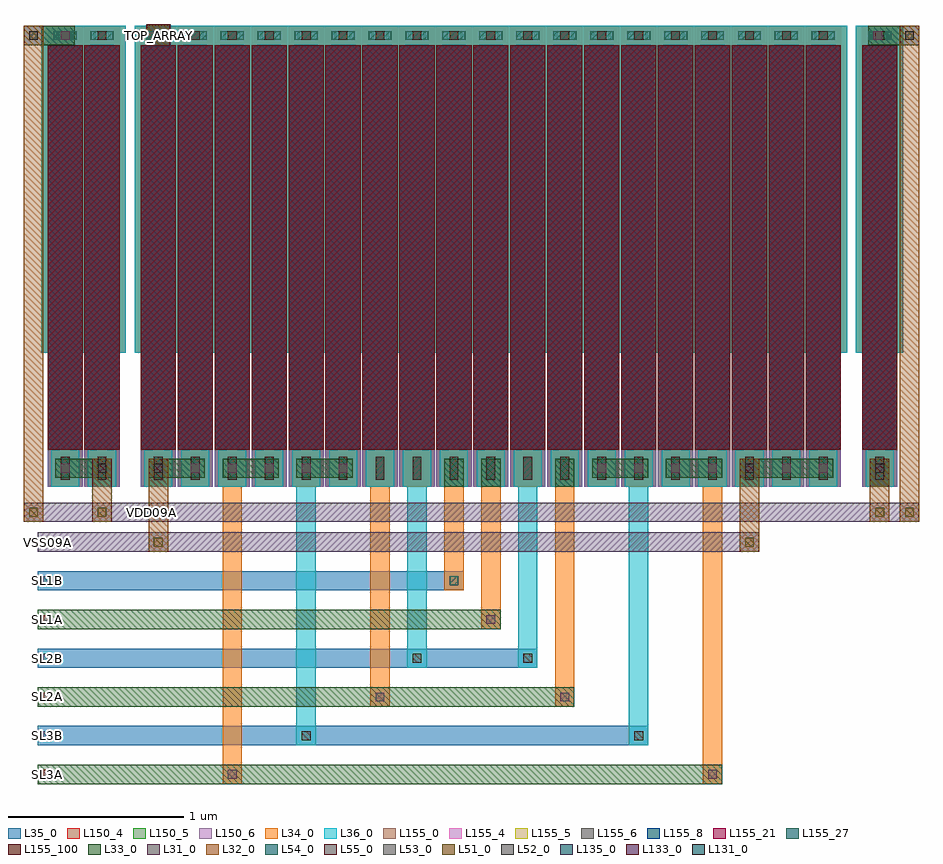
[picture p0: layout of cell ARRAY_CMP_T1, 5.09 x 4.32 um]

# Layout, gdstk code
from math import pi, radians
import gdstk
lib = gdstk.Library(unit=1e-6, precision=1e-09)
def R(c, l, rs):  # rectangles x0, y0, x1, y1
    for r in rs: c.add(gdstk.rectangle(r[:2], r[2:], *l))
def A(c, l, x, y, w, h, nx, ny, dx, dy):  # array of equal rectangles
    R(c, l, [(x+i*dx, y+j*dy, x+i*dx+w, y+j*dy+h) for i in range(nx) for j in range(ny)])
L31_0 = (31, 0)
L32_0 = (32, 0)
L33_0 = (33, 0)
L34_0 = (34, 0)
L35_0 = (35, 0)
L36_0 = (36, 0)
L51_0 = (51, 0)
L52_0 = (52, 0)
L53_0 = (53, 0)
L54_0 = (54, 0)
L55_0 = (55, 0)
L131_0 = (131, 0)
L133_0 = (133, 0)
L135_0 = (135, 0)
L150_4 = (150, 4)
L150_5 = (150, 5)
L150_6 = (150, 6)
L155_0 = (155, 0)
L155_4 = (155, 4)
L155_5 = (155, 5)
L155_6 = (155, 6)
L155_8 = (155, 8)
L155_21 = (155, 21)
L155_27 = (155, 27)
L155_100 = (155, 100)

m5_m4_cdns_621664426978 = lib.new_cell('M5_M4_CDNS_621664426978')
R(m5_m4_cdns_621664426978, L34_0, [(-0.07,-0.105,0.07,0.105)])
R(m5_m4_cdns_621664426978, L35_0, [(-0.07,-0.105,0.07,0.105)])
R(m5_m4_cdns_621664426978, L54_0, [(-0.025,-0.065,0.025,0.065)])

m6_m5_cdns_621664426979 = lib.new_cell('M6_M5_CDNS_621664426979')
R(m6_m5_cdns_621664426979, L35_0, [(-0.07,-0.105,0.07,0.105)])
R(m6_m5_cdns_621664426979, L36_0, [(-0.055,-0.105,0.055,0.105)])
R(m6_m5_cdns_621664426979, L55_0, [(-0.025,-0.065,0.025,0.065)])

m5_m4_cdns_6216644269710 = lib.new_cell('M5_M4_CDNS_6216644269710')
R(m5_m4_cdns_6216644269710, L34_0, [(-0.095,-0.055,0.095,0.055)])
R(m5_m4_cdns_6216644269710, L35_0, [(-0.12,-0.055,0.12,0.055)])
R(m5_m4_cdns_6216644269710, L54_0, [(-0.065,-0.025,0.065,0.025)])

m6_m5_cdns_621664426976 = lib.new_cell('M6_M5_CDNS_621664426976')
R(m6_m5_cdns_621664426976, L35_0, [(-0.055,-0.055,0.055,0.055)])
R(m6_m5_cdns_621664426976, L36_0, [(-0.055,-0.055,0.055,0.055)])
R(m6_m5_cdns_621664426976, L55_0, [(-0.025,-0.025,0.025,0.025)])

cu1f = lib.new_cell('CU1F')
R(cu1f, L34_0, [(0.02,0,0.18,0.21), (-0.035,2.51,0.235,2.62)])
R(cu1f, L35_0, [(0.02,0,0.18,0.21), (-0.035,2.51,0.235,2.62)])
R(cu1f, L36_0, [(0.02,0,0.18,0.21), (-0.035,2.51,0.235,2.62)])
R(cu1f, L150_4, [(0,0,0.2,2.62)])
R(cu1f, L150_5, [(0,0,0.2,2.62)])
R(cu1f, L150_6, [(0,0,0.2,2.62)])
R(cu1f, L155_0, [(0,0.21,0.2,2.51)])
R(cu1f, L155_4, [(0,0.21,0.2,2.51)])
R(cu1f, L155_5, [(0,0.21,0.2,2.51)])
R(cu1f, L155_6, [(0,0.21,0.2,2.51)])
R(cu1f, L155_8, [(0,0.21,0.2,2.51)])
R(cu1f, L155_21, [(0,0.21,0.2,2.51)])
R(cu1f, L155_27, [(0,0.21,0.2,2.51)])
R(cu1f, L155_100, [(0,0.21,0.2,2.51)])
cu1f.add(gdstk.FlexPath([(0.205,2.59),(0.205,0.76)], 0.06, ends=(0.03, 0), simple_path=True, layer=34, datatype=0))  # L34_0
cu1f.add(gdstk.FlexPath([(0.1,2.41),(0.1,0)], 0.05, ends="flush", simple_path=True, layer=34, datatype=0))  # L34_0
cu1f.add(gdstk.FlexPath([(-0.005,2.59),(-0.005,0.76)], 0.06, ends=(0.03, 0), simple_path=True, layer=34, datatype=0))  # L34_0
cu1f.add(gdstk.FlexPath([(0.205,0.76),(0.205,2.59)], 0.06, ends=(0, 0.03), simple_path=True, layer=35, datatype=0))  # L35_0
cu1f.add(gdstk.FlexPath([(0.1,2.41),(0.1,0)], 0.05, ends="flush", simple_path=True, layer=35, datatype=0))  # L35_0
cu1f.add(gdstk.FlexPath([(-0.005,0.76),(-0.005,2.59)], 0.06, ends=(0, 0.03), simple_path=True, layer=35, datatype=0))  # L35_0
cu1f.add(gdstk.FlexPath([(0.205,0.76),(0.205,2.59)], 0.06, ends=(0, 0.03), simple_path=True, layer=36, datatype=0))  # L36_0
cu1f.add(gdstk.FlexPath([(0.1,2.41),(0.1,0)], 0.05, ends="flush", simple_path=True, layer=36, datatype=0))  # L36_0
cu1f.add(gdstk.FlexPath([(-0.005,0.76),(-0.005,2.59)], 0.06, ends=(0, 0.03), simple_path=True, layer=36, datatype=0))  # L36_0
cu1f.add(gdstk.Reference(m5_m4_cdns_621664426978, (0.1,0.105), rotation=pi, x_reflection=True))
cu1f.add(gdstk.Reference(m6_m5_cdns_621664426979, (0.1,0.105), rotation=pi, x_reflection=True))
cu1f.add(gdstk.Reference(m5_m4_cdns_6216644269710, (0.1,2.565)))
cu1f.add(gdstk.Reference(m6_m5_cdns_621664426976, (0.1,2.565)))

m2_m1_cdns_621664426970 = lib.new_cell('M2_M1_CDNS_621664426970')
R(m2_m1_cdns_621664426970, L31_0, [(-0.055,-0.055,0.055,0.055)])
R(m2_m1_cdns_621664426970, L32_0, [(-0.055,-0.055,0.055,0.055)])
R(m2_m1_cdns_621664426970, L51_0, [(-0.025,-0.025,0.025,0.025)])

m3_m2_cdns_621664426971 = lib.new_cell('M3_M2_CDNS_621664426971')
R(m3_m2_cdns_621664426971, L32_0, [(-0.055,-0.055,0.055,0.055)])
R(m3_m2_cdns_621664426971, L33_0, [(-0.055,-0.055,0.055,0.055)])
R(m3_m2_cdns_621664426971, L52_0, [(-0.025,-0.025,0.025,0.025)])

m4_m3_cdns_621664426972 = lib.new_cell('M4_M3_CDNS_621664426972')
R(m4_m3_cdns_621664426972, L33_0, [(-0.055,-0.055,0.055,0.055)])
R(m4_m3_cdns_621664426972, L34_0, [(-0.055,-0.055,0.055,0.055)])
R(m4_m3_cdns_621664426972, L53_0, [(-0.025,-0.025,0.025,0.025)])

m4_m3_cdns_621664426973 = lib.new_cell('M4_M3_CDNS_621664426973')
R(m4_m3_cdns_621664426973, L33_0, [(-0.07,-0.065,0.07,0.065)])
R(m4_m3_cdns_621664426973, L34_0, [(-0.055,-0.055,0.055,0.055)])
R(m4_m3_cdns_621664426973, L53_0, [(-0.025,-0.025,0.025,0.025)])

m3_m2_cdns_621664426974 = lib.new_cell('M3_M2_CDNS_621664426974')
R(m3_m2_cdns_621664426974, L32_0, [(-0.065,-0.06,0.065,0.06)])
R(m3_m2_cdns_621664426974, L33_0, [(-0.07,-0.065,0.07,0.065)])
R(m3_m2_cdns_621664426974, L52_0, [(-0.025,-0.025,0.025,0.025)])

m2_m1_cdns_621664426975 = lib.new_cell('M2_M1_CDNS_621664426975')
R(m2_m1_cdns_621664426975, L31_0, [(-0.055,-0.055,0.055,0.055)])
R(m2_m1_cdns_621664426975, L32_0, [(-0.065,-0.06,0.065,0.06)])
R(m2_m1_cdns_621664426975, L51_0, [(-0.025,-0.025,0.025,0.025)])

m5_m4_cdns_621664426977 = lib.new_cell('M5_M4_CDNS_621664426977')
R(m5_m4_cdns_621664426977, L34_0, [(-0.055,-0.055,0.055,0.055)])
R(m5_m4_cdns_621664426977, L35_0, [(-0.055,-0.055,0.055,0.055)])
R(m5_m4_cdns_621664426977, L54_0, [(-0.025,-0.025,0.025,0.025)])

array_cmp_t1 = lib.new_cell('ARRAY_CMP_T1')
R(array_cmp_t1, L31_0, [(-0.055,-0.37,4.045,-0.26), (-0.135,-0.2,4.955,-0.09), (0.56,2.5,0.7,2.63)])
R(array_cmp_t1, L32_0, [(0.575,-0.37,0.685,0.16), (3.935,-0.37,4.045,0.16), (-0.135,-0.2,-0.025,2.62), (0.255,-0.2,0.365,0.16), (4.675,-0.2,4.785,0.16), (4.845,-0.2,4.955,2.62)])
A(array_cmp_t1, L33_0, 0.575, 0.05, 0.32, 0.11, 3, 1, 0.42, 0)
R(array_cmp_t1, L33_0, [(-0.055,-1.69,3.835,-1.58), (-0.055,-1.25,2.995,-1.14), (-0.055,-0.81,2.575,-0.7), (2.255,0,2.365,0.16), (2.465,0,2.575,0.16), (2.885,0,2.995,0.16), (4.675,0,4.785,0.16), (0.045,0.05,0.365,0.16), (3.095,0.05,3.415,0.16), (3.515,0.05,3.835,0.16), (3.935,0.05,4.465,0.16), (-0.135,2.51,0.155,2.62), (4.665,2.51,4.955,2.62)])
R(array_cmp_t1, L34_0, [(0.995,-1.69,1.105,0.16), (3.725,-1.69,3.835,0.16), (1.835,-1.25,1.945,0.16), (2.885,-1.25,2.995,0.16), (2.465,-0.81,2.575,0.16), (2.255,-0.59,2.365,0.16)])
R(array_cmp_t1, L35_0, [(-0.055,-1.47,3.415,-1.36), (-0.055,-1.03,2.785,-0.92), (-0.055,-0.59,2.365,-0.48)])
R(array_cmp_t1, L36_0, [(1.415,-1.47,1.525,0.16), (3.305,-1.47,3.415,0.16), (2.045,-1.03,2.155,0.16), (2.675,-1.03,2.785,0.16)])
R(array_cmp_t1, L131_0, [(-0.025,-0.34,0.025,-0.29), (0.565,-0.17,0.615,-0.12), (0.605,2.54,0.655,2.59)])
A(array_cmp_t1, L133_0, -0.025, -1.66, 0.05, 0.05, 1, 3, 0, 0.44)
A(array_cmp_t1, L135_0, -0.025, -1.44, 0.05, 0.05, 1, 3, 0, 0.44)
array_cmp_t1.add(gdstk.Reference(cu1f, (0,0)))
array_cmp_t1.add(gdstk.Reference(cu1f, (0.21,0)))
array_cmp_t1.add(gdstk.Reference(cu1f, (0.53,0)))
array_cmp_t1.add(gdstk.Reference(cu1f, (0.74,0)))
array_cmp_t1.add(gdstk.Reference(cu1f, (4.63,0)))
array_cmp_t1.add(gdstk.Reference(cu1f, (4.31,0)))
array_cmp_t1.add(gdstk.Reference(cu1f, (4.1,0)))
array_cmp_t1.add(gdstk.Reference(cu1f, (3.89,0)))
array_cmp_t1.add(gdstk.Reference(cu1f, (3.68,0)))
array_cmp_t1.add(gdstk.Reference(cu1f, (3.47,0)))
array_cmp_t1.add(gdstk.Reference(cu1f, (3.26,0)))
array_cmp_t1.add(gdstk.Reference(cu1f, (3.05,0)))
array_cmp_t1.add(gdstk.Reference(cu1f, (2.84,0)))
array_cmp_t1.add(gdstk.Reference(cu1f, (2.63,0)))
array_cmp_t1.add(gdstk.Reference(cu1f, (2.42,0)))
array_cmp_t1.add(gdstk.Reference(cu1f, (2.21,0)))
array_cmp_t1.add(gdstk.Reference(cu1f, (2,0)))
array_cmp_t1.add(gdstk.Reference(cu1f, (1.79,0)))
array_cmp_t1.add(gdstk.Reference(cu1f, (1.58,0)))
array_cmp_t1.add(gdstk.Reference(cu1f, (1.37,0)))
array_cmp_t1.add(gdstk.Reference(cu1f, (1.16,0)))
array_cmp_t1.add(gdstk.Reference(cu1f, (0.95,0)))
array_cmp_t1.add(gdstk.Reference(m2_m1_cdns_621664426970, (4.9,-0.145)))
array_cmp_t1.add(gdstk.Reference(m2_m1_cdns_621664426970, (-0.08,-0.145)))
array_cmp_t1.add(gdstk.Reference(m2_m1_cdns_621664426970, (4.73,-0.145)))
array_cmp_t1.add(gdstk.Reference(m2_m1_cdns_621664426970, (0.31,-0.145)))
array_cmp_t1.add(gdstk.Reference(m2_m1_cdns_621664426970, (3.99,-0.315)))
array_cmp_t1.add(gdstk.Reference(m2_m1_cdns_621664426970, (0.63,-0.315)))
array_cmp_t1.add(gdstk.Reference(m3_m2_cdns_621664426971, (4.9,2.565)))
array_cmp_t1.add(gdstk.Reference(m3_m2_cdns_621664426971, (-0.08,2.565)))
array_cmp_t1.add(gdstk.Reference(m3_m2_cdns_621664426971, (4.73,0.105)))
array_cmp_t1.add(gdstk.Reference(m3_m2_cdns_621664426971, (3.99,0.105)))
array_cmp_t1.add(gdstk.Reference(m3_m2_cdns_621664426971, (0.63,0.105)))
array_cmp_t1.add(gdstk.Reference(m3_m2_cdns_621664426971, (0.31,0.105)))
array_cmp_t1.add(gdstk.Reference(m4_m3_cdns_621664426972, (3.78,-1.635)))
array_cmp_t1.add(gdstk.Reference(m4_m3_cdns_621664426972, (4.72,2.565), rotation=pi, x_reflection=True))
array_cmp_t1.add(gdstk.Reference(m4_m3_cdns_621664426972, (0.1,2.565)))
array_cmp_t1.add(gdstk.Reference(m4_m3_cdns_621664426972, (2.94,-1.195)))
array_cmp_t1.add(gdstk.Reference(m4_m3_cdns_621664426972, (1.26,0.105)))
array_cmp_t1.add(gdstk.Reference(m4_m3_cdns_621664426972, (1.89,-1.195)))
array_cmp_t1.add(gdstk.Reference(m4_m3_cdns_621664426972, (1.68,0.105)))
array_cmp_t1.add(gdstk.Reference(m4_m3_cdns_621664426972, (3.78,0.105)))
array_cmp_t1.add(gdstk.Reference(m4_m3_cdns_621664426972, (3.36,0.105)))
array_cmp_t1.add(gdstk.Reference(m4_m3_cdns_621664426972, (3.15,0.105)))
array_cmp_t1.add(gdstk.Reference(m4_m3_cdns_621664426972, (3.57,0.105)))
array_cmp_t1.add(gdstk.Reference(m4_m3_cdns_621664426972, (4.73,0.105)))
array_cmp_t1.add(gdstk.Reference(m4_m3_cdns_621664426972, (4.2,0.105)))
array_cmp_t1.add(gdstk.Reference(m4_m3_cdns_621664426972, (4.41,0.105)))
array_cmp_t1.add(gdstk.Reference(m4_m3_cdns_621664426972, (3.99,0.105)))
array_cmp_t1.add(gdstk.Reference(m4_m3_cdns_621664426972, (0.84,0.105)))
array_cmp_t1.add(gdstk.Reference(m4_m3_cdns_621664426972, (0.63,0.105)))
array_cmp_t1.add(gdstk.Reference(m4_m3_cdns_621664426972, (0.1,0.105)))
array_cmp_t1.add(gdstk.Reference(m4_m3_cdns_621664426972, (0.31,0.105)))
array_cmp_t1.add(gdstk.Reference(m4_m3_cdns_621664426972, (1.05,-1.635)))
array_cmp_t1.add(gdstk.Reference(m4_m3_cdns_621664426972, (2.52,-0.755)))
array_cmp_t1.add(gdstk.Reference(m4_m3_cdns_621664426972, (1.47,0.105)))
array_cmp_t1.add(gdstk.Reference(m4_m3_cdns_621664426972, (1.05,0.105)))
array_cmp_t1.add(gdstk.Reference(m4_m3_cdns_621664426973, (0.63,2.565)))
array_cmp_t1.add(gdstk.Reference(m3_m2_cdns_621664426974, (0.63,2.565)))
array_cmp_t1.add(gdstk.Reference(m2_m1_cdns_621664426975, (0.63,2.565)))
array_cmp_t1.add(gdstk.Reference(m6_m5_cdns_621664426976, (3.36,0.105)))
array_cmp_t1.add(gdstk.Reference(m6_m5_cdns_621664426976, (1.47,0.105)))
array_cmp_t1.add(gdstk.Reference(m6_m5_cdns_621664426976, (3.36,-1.415)))
array_cmp_t1.add(gdstk.Reference(m6_m5_cdns_621664426976, (1.47,-1.415)))
array_cmp_t1.add(gdstk.Reference(m6_m5_cdns_621664426976, (2.1,-0.975)))
array_cmp_t1.add(gdstk.Reference(m6_m5_cdns_621664426976, (2.73,-0.975)))
array_cmp_t1.add(gdstk.Reference(m5_m4_cdns_621664426977, (2.31,-0.535)))
array_cmp_t1.add(gdstk.Reference(m5_m4_cdns_621664426977, (1.47,0.105)))
array_cmp_t1.add(gdstk.Reference(m5_m4_cdns_621664426977, (3.36,0.105)))
array_cmp_t1.add(gdstk.Label('SL3B', (0,-1.415), layer=135, texttype=0))
array_cmp_t1.add(gdstk.Label('SL1B', (0,-0.535), layer=135, texttype=0))
array_cmp_t1.add(gdstk.Label('SL2B', (0,-0.975), layer=135, texttype=0))
array_cmp_t1.add(gdstk.Label('SL3A', (0,-1.635), layer=133, texttype=0))
array_cmp_t1.add(gdstk.Label('SL1A', (0,-0.755), layer=133, texttype=0))
array_cmp_t1.add(gdstk.Label('SL2A', (0,-1.195), layer=133, texttype=0))
array_cmp_t1.add(gdstk.Label('VDD09A', (0.59,-0.145), layer=131, texttype=0))
array_cmp_t1.add(gdstk.Label('VSS09A', (0,-0.315), layer=131, texttype=0))
array_cmp_t1.add(gdstk.Label('TOP_ARRAY', (0.628,2.565), layer=131, texttype=0))

lib.write_gds('ARRAY_CMP_T1.gds')
